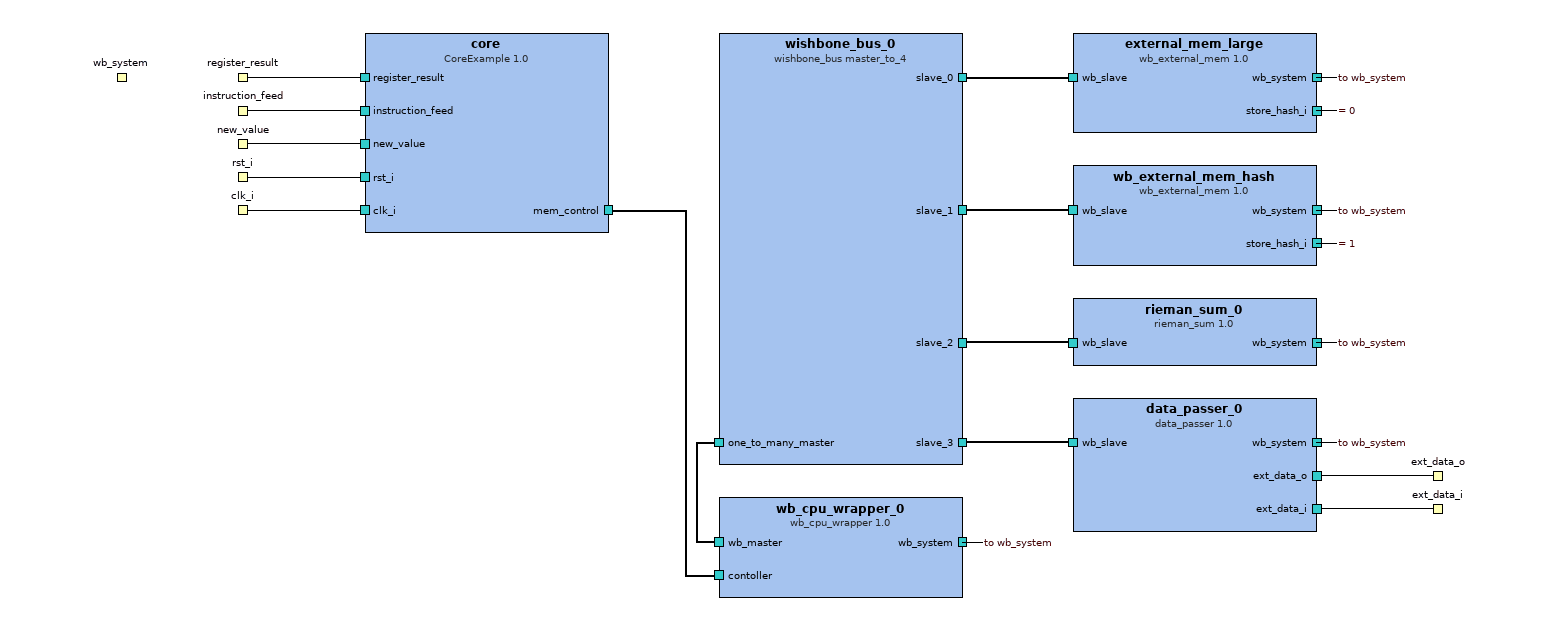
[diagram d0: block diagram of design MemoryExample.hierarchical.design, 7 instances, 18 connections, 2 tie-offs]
<?xml version="1.0" encoding="UTF-8"?>
<ipxact:design xmlns:xsi="http://www.w3.org/2001/XMLSchema-instance" xmlns:ipxact="http://www.accellera.org/XMLSchema/IPXACT/1685-2014" xmlns:kactus2="http://kactus2.cs.tut.fi" xsi:schemaLocation="http://www.accellera.org/XMLSchema/IPXACT/1685-2014/ http://www.accellera.org/XMLSchema/IPXACT/1685-2014/index.xsd"><ipxact:vendor>tut.fi</ipxact:vendor><ipxact:library>processor</ipxact:library><ipxact:name>MemoryExample.hierarchical.design</ipxact:name>
 <ipxact:version>1.0</ipxact:version><ipxact:componentInstances>
 <ipxact:componentInstance><ipxact:instanceName>wishbone_bus_0</ipxact:instanceName>
  <ipxact:componentRef vendor="tut.fi" library="communication" name="wishbone_bus" version="master_to_4">
   <ipxact:configurableElementValues><ipxact:configurableElementValue referenceId="uuid_f30c27b8_94fc_4cc9_b6c6_2e6299cb0242">uuid_1cedcd48_18d3_4ab1_8168_b840ffeef0c1</ipxact:configurableElementValue><ipxact:configurableElementValue referenceId="uuid_5c8126ec_6b47_4c7e_9fbe_8ff0c16f7a5c">uuid_51264501_3c28_4520_85cf_509d0483d12d</ipxact:configurableElementValue><ipxact:configurableElementValue referenceId="uuid_bcba20bf_5f4d_4408_ab04_e9272e8a2a55">uuid_bf25fb78_f9e5_464e_ac38_8da3fda16d60</ipxact:configurableElementValue>
    <ipxact:configurableElementValue referenceId="uuid_64038f66_68bd_4536_90a9_f4fd43e4eb0e">uuid_f700130c_5c67_4b2c_a33f_91a6e2f5239c</ipxact:configurableElementValue><ipxact:configurableElementValue referenceId="uuid_7a0bf7b4_d2dc_4541_ada5_41e31e45bac1">uuid_96d9f335_6814_4ab6_8c68_3fef0c331938</ipxact:configurableElementValue><ipxact:configurableElementValue referenceId="uuid_5d21620a_24de_423a_bc89_d4669d9ba8c3">uuid_60efb6b8_d845_4ed7_92c5_ab0aeda62fc2</ipxact:configurableElementValue>
    <ipxact:configurableElementValue referenceId="uuid_27458201_6776_47b9_ba3a_9e290a22ff3b">uuid_7098bf49_6fc4_4971_b79c_dbf456e8fa22</ipxact:configurableElementValue>
   </ipxact:configurableElementValues>
  </ipxact:componentRef>
 </ipxact:componentInstance>
 <ipxact:componentInstance><ipxact:instanceName>wb_cpu_wrapper_0</ipxact:instanceName>
  <ipxact:componentRef vendor="tut.fi" library="communication" name="wb_cpu_wrapper" version="1.0">
   <ipxact:configurableElementValues><ipxact:configurableElementValue referenceId="uuid_97ac3e61_b280_4fa3_982a_78b110952f5b">uuid_34e837d0_846a_486c_84b3_a29e2f957b9f</ipxact:configurableElementValue><ipxact:configurableElementValue referenceId="uuid_fe30a511_9701_4142_b340_223777d1b857">uuid_1cedcd48_18d3_4ab1_8168_b840ffeef0c1</ipxact:configurableElementValue><ipxact:configurableElementValue referenceId="uuid_ed7d4652_1c14_4647_90dd_881ec00146f8">uuid_51264501_3c28_4520_85cf_509d0483d12d</ipxact:configurableElementValue>
    <ipxact:configurableElementValue referenceId="uuid_c58fd099_9dad_463d_bbe9_ff967befbfb0">uuid_f5c2f2c1_588b_45b2_a352_49e3d278c24d-uuid_34e837d0_846a_486c_84b3_a29e2f957b9f</ipxact:configurableElementValue>
   </ipxact:configurableElementValues>
  </ipxact:componentRef>
 </ipxact:componentInstance>
 <ipxact:componentInstance><ipxact:instanceName>core</ipxact:instanceName>
  <ipxact:componentRef vendor="tut.fi" library="core" name="CoreExample" version="1.0">
   <ipxact:configurableElementValues><ipxact:configurableElementValue referenceId="uuid_9d887d27_b1b6_4b29_b7c1_b9916038a6b4">uuid_f5c2f2c1_588b_45b2_a352_49e3d278c24d</ipxact:configurableElementValue><ipxact:configurableElementValue referenceId="uuid_ad551e0e_7aa5_4972_bb1d_ec97505a773e">uuid_34e837d0_846a_486c_84b3_a29e2f957b9f</ipxact:configurableElementValue><ipxact:configurableElementValue referenceId="uuid_240da555_796c_42e9_b09d_9769b11e8ac7">uuid_1cedcd48_18d3_4ab1_8168_b840ffeef0c1</ipxact:configurableElementValue>
    <ipxact:configurableElementValue referenceId="uuid_6e1d17f1_eadc_4bdc_886b_00a3c4016028">uuid_51264501_3c28_4520_85cf_509d0483d12d</ipxact:configurableElementValue>
   </ipxact:configurableElementValues>
  </ipxact:componentRef>
 </ipxact:componentInstance>
 <ipxact:componentInstance><ipxact:instanceName>external_mem_large</ipxact:instanceName>
  <ipxact:componentRef vendor="tut.fi" library="peripheral" name="wb_external_mem" version="1.0">
   <ipxact:configurableElementValues><ipxact:configurableElementValue referenceId="uuid_3452fcca_4cd2_458f_a644_4c6530ea74ed">uuid_51264501_3c28_4520_85cf_509d0483d12d</ipxact:configurableElementValue><ipxact:configurableElementValue referenceId="uuid_981f1b40_673e_44dc_a9c1_881b812f8ddd">uuid_1cedcd48_18d3_4ab1_8168_b840ffeef0c1</ipxact:configurableElementValue><ipxact:configurableElementValue referenceId="uuid_11833df7_86a0_48e2_8577_f3cc38000d57">uuid_bf25fb78_f9e5_464e_ac38_8da3fda16d60</ipxact:configurableElementValue>
    <ipxact:configurableElementValue referenceId="uuid_8765f299_7c9a_41f4_bf6c_35a2b31cd1ba">uuid_7098bf49_6fc4_4971_b79c_dbf456e8fa22</ipxact:configurableElementValue>
   </ipxact:configurableElementValues>
  </ipxact:componentRef>
 </ipxact:componentInstance>
 <ipxact:componentInstance><ipxact:instanceName>wb_external_mem_hash</ipxact:instanceName>
  <ipxact:componentRef vendor="tut.fi" library="peripheral" name="wb_external_mem" version="1.0">
   <ipxact:configurableElementValues><ipxact:configurableElementValue referenceId="uuid_11833df7_86a0_48e2_8577_f3cc38000d57">uuid_60efb6b8_d845_4ed7_92c5_ab0aeda62fc2</ipxact:configurableElementValue><ipxact:configurableElementValue referenceId="uuid_8765f299_7c9a_41f4_bf6c_35a2b31cd1ba">uuid_7098bf49_6fc4_4971_b79c_dbf456e8fa22</ipxact:configurableElementValue><ipxact:configurableElementValue referenceId="uuid_981f1b40_673e_44dc_a9c1_881b812f8ddd">uuid_1cedcd48_18d3_4ab1_8168_b840ffeef0c1</ipxact:configurableElementValue>
    <ipxact:configurableElementValue referenceId="uuid_3452fcca_4cd2_458f_a644_4c6530ea74ed">uuid_51264501_3c28_4520_85cf_509d0483d12d</ipxact:configurableElementValue>
   </ipxact:configurableElementValues>
  </ipxact:componentRef>
 </ipxact:componentInstance>
 <ipxact:componentInstance><ipxact:instanceName>data_passer_0</ipxact:instanceName>
  <ipxact:componentRef vendor="tut.fi" library="peripheral" name="data_passer" version="1.0">
   <ipxact:configurableElementValues><ipxact:configurableElementValue referenceId="uuid_11833df7_86a0_48e2_8577_f3cc38000d57">uuid_f700130c_5c67_4b2c_a33f_91a6e2f5239c</ipxact:configurableElementValue><ipxact:configurableElementValue referenceId="uuid_3452fcca_4cd2_458f_a644_4c6530ea74ed">uuid_51264501_3c28_4520_85cf_509d0483d12d</ipxact:configurableElementValue><ipxact:configurableElementValue referenceId="uuid_981f1b40_673e_44dc_a9c1_881b812f8ddd">uuid_1cedcd48_18d3_4ab1_8168_b840ffeef0c1</ipxact:configurableElementValue>
   </ipxact:configurableElementValues>
  </ipxact:componentRef>
 </ipxact:componentInstance>
 <ipxact:componentInstance><ipxact:instanceName>rieman_sum_0</ipxact:instanceName>
  <ipxact:componentRef vendor="tut.fi" library="peripheral" name="rieman_sum" version="1.0">
   <ipxact:configurableElementValues><ipxact:configurableElementValue referenceId="uuid_981f1b40_673e_44dc_a9c1_881b812f8ddd">uuid_1cedcd48_18d3_4ab1_8168_b840ffeef0c1</ipxact:configurableElementValue><ipxact:configurableElementValue referenceId="uuid_11833df7_86a0_48e2_8577_f3cc38000d57">uuid_96d9f335_6814_4ab6_8c68_3fef0c331938</ipxact:configurableElementValue><ipxact:configurableElementValue referenceId="uuid_3452fcca_4cd2_458f_a644_4c6530ea74ed">uuid_51264501_3c28_4520_85cf_509d0483d12d</ipxact:configurableElementValue>
   </ipxact:configurableElementValues>
  </ipxact:componentRef>
 </ipxact:componentInstance>
</ipxact:componentInstances><ipxact:interconnections>
 <ipxact:interconnection><ipxact:name>wb_cpu_wrapper_0_wb_master_to_wishbone_bus_0_one_to_many_master</ipxact:name><ipxact:activeInterface componentRef="wb_cpu_wrapper_0" busRef="wb_master"/><ipxact:activeInterface componentRef="wishbone_bus_0" busRef="one_to_many_master"/></ipxact:interconnection>
 <ipxact:interconnection><ipxact:name>wb_cpu_wrapper_0_wb_system_to_wb_system</ipxact:name><ipxact:activeInterface componentRef="wb_cpu_wrapper_0" busRef="wb_system"/><ipxact:hierInterface busRef="wb_system"/></ipxact:interconnection>
 <ipxact:interconnection><ipxact:name>core_mem_control_to_wb_cpu_wrapper_0_contoller</ipxact:name><ipxact:activeInterface componentRef="core" busRef="mem_control"/><ipxact:activeInterface componentRef="wb_cpu_wrapper_0" busRef="contoller"/></ipxact:interconnection>
 <ipxact:interconnection><ipxact:name>wishbone_bus_0_slave_0_to_external_mem_large_wb_slave</ipxact:name><ipxact:activeInterface componentRef="wishbone_bus_0" busRef="slave_0"/><ipxact:activeInterface componentRef="external_mem_large" busRef="wb_slave"/></ipxact:interconnection>
 <ipxact:interconnection><ipxact:name>external_mem_large_wb_system_to_wb_system</ipxact:name><ipxact:activeInterface componentRef="external_mem_large" busRef="wb_system"/><ipxact:hierInterface busRef="wb_system"/></ipxact:interconnection>
 <ipxact:interconnection><ipxact:name>wb_external_mem_hash_wb_slave_to_wishbone_bus_0_slave_1</ipxact:name><ipxact:activeInterface componentRef="wb_external_mem_hash" busRef="wb_slave"/><ipxact:activeInterface componentRef="wishbone_bus_0" busRef="slave_1"/></ipxact:interconnection>
 <ipxact:interconnection><ipxact:name>wb_external_mem_hash_wb_system_to_wb_system</ipxact:name><ipxact:activeInterface componentRef="wb_external_mem_hash" busRef="wb_system"/><ipxact:hierInterface busRef="wb_system"/></ipxact:interconnection>
 <ipxact:interconnection><ipxact:name>data_passer_0_wb_system_to_wb_system</ipxact:name><ipxact:activeInterface componentRef="data_passer_0" busRef="wb_system"/><ipxact:hierInterface busRef="wb_system"/></ipxact:interconnection>
 <ipxact:interconnection><ipxact:name>data_passer_0_wb_slave_to_wishbone_bus_0_slave_3</ipxact:name><ipxact:activeInterface componentRef="data_passer_0" busRef="wb_slave"/><ipxact:activeInterface componentRef="wishbone_bus_0" busRef="slave_3"/></ipxact:interconnection>
 <ipxact:interconnection><ipxact:name>rieman_sum_0_wb_slave_to_wishbone_bus_0_slave_2</ipxact:name><ipxact:activeInterface componentRef="rieman_sum_0" busRef="wb_slave"/><ipxact:activeInterface componentRef="wishbone_bus_0" busRef="slave_2"/></ipxact:interconnection>
 <ipxact:interconnection><ipxact:name>rieman_sum_0_wb_system_to_wb_system</ipxact:name><ipxact:activeInterface componentRef="rieman_sum_0" busRef="wb_system"/><ipxact:hierInterface busRef="wb_system"/></ipxact:interconnection>
</ipxact:interconnections><ipxact:adHocConnections>
 <ipxact:adHocConnection><ipxact:name>core_rst_i_to_rst_i</ipxact:name><ipxact:portReferences><ipxact:internalPortReference componentRef="core" portRef="rst_i"/><ipxact:externalPortReference portRef="rst_i"/></ipxact:portReferences></ipxact:adHocConnection>
 <ipxact:adHocConnection><ipxact:name>core_clk_i_to_clk_i</ipxact:name><ipxact:portReferences><ipxact:internalPortReference componentRef="core" portRef="clk_i"/><ipxact:externalPortReference portRef="clk_i"/></ipxact:portReferences></ipxact:adHocConnection>
 <ipxact:adHocConnection><ipxact:name>data_passer_0_ext_data_o_to_ext_data_o</ipxact:name><ipxact:portReferences><ipxact:internalPortReference componentRef="data_passer_0" portRef="ext_data_o"/><ipxact:externalPortReference portRef="ext_data_o"/></ipxact:portReferences></ipxact:adHocConnection>
 <ipxact:adHocConnection><ipxact:name>data_passer_0_ext_data_i_to_ext_data_i</ipxact:name><ipxact:portReferences><ipxact:internalPortReference componentRef="data_passer_0" portRef="ext_data_i"/><ipxact:externalPortReference portRef="ext_data_i"/></ipxact:portReferences></ipxact:adHocConnection>
 <ipxact:adHocConnection><ipxact:name>core_instruction_feed_to_instruction_feed</ipxact:name><ipxact:portReferences><ipxact:internalPortReference componentRef="core" portRef="instruction_feed"/><ipxact:externalPortReference portRef="instruction_feed"/></ipxact:portReferences></ipxact:adHocConnection>
 <ipxact:adHocConnection><ipxact:name>core_register_result_to_register_result</ipxact:name><ipxact:portReferences><ipxact:internalPortReference componentRef="core" portRef="register_result"/><ipxact:externalPortReference portRef="register_result"/></ipxact:portReferences></ipxact:adHocConnection>
 <ipxact:adHocConnection><ipxact:name>core_new_value_to_new_value</ipxact:name><ipxact:portReferences><ipxact:internalPortReference componentRef="core" portRef="new_value"/><ipxact:externalPortReference portRef="new_value"/></ipxact:portReferences></ipxact:adHocConnection>
 <ipxact:adHocConnection><ipxact:name>external_mem_large_store_hash_i_to_tiedValue</ipxact:name><ipxact:tiedValue>0</ipxact:tiedValue><ipxact:portReferences><ipxact:internalPortReference componentRef="external_mem_large" portRef="store_hash_i"/></ipxact:portReferences></ipxact:adHocConnection>
 <ipxact:adHocConnection><ipxact:name>wb_external_mem_hash_store_hash_i_to_tiedValue</ipxact:name><ipxact:tiedValue>1</ipxact:tiedValue><ipxact:portReferences><ipxact:internalPortReference componentRef="wb_external_mem_hash" portRef="store_hash_i"/></ipxact:portReferences></ipxact:adHocConnection>
</ipxact:adHocConnections></ipxact:design>

